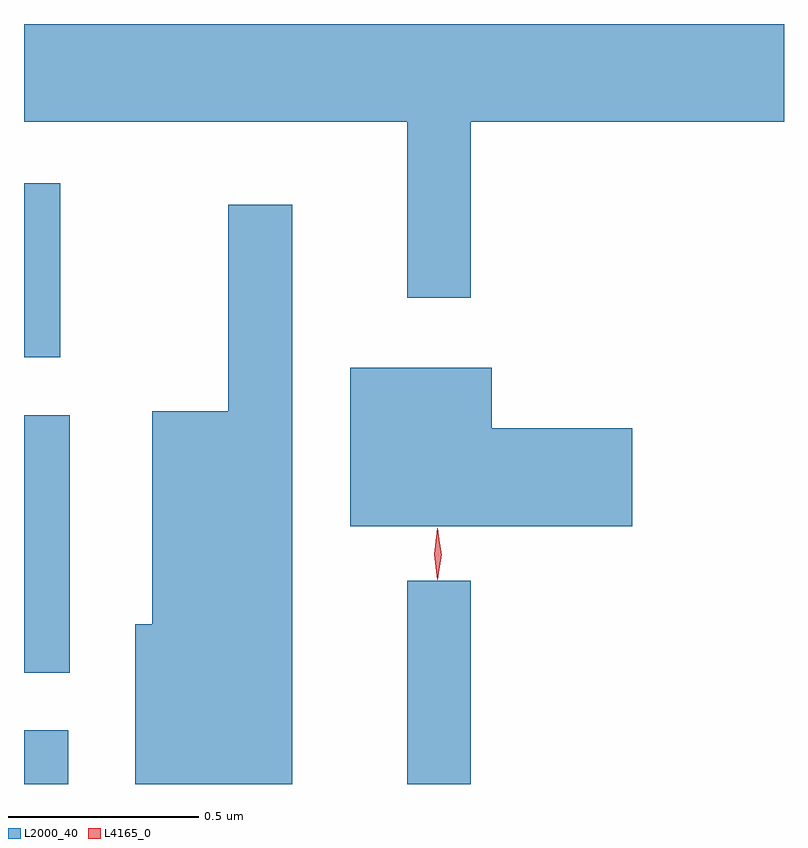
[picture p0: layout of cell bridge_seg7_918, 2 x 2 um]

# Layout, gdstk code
import gdstk
lib = gdstk.Library(unit=1e-6, precision=1e-09)
def R(c, l, rs):  # rectangles x0, y0, x1, y1
    for r in rs: c.add(gdstk.rectangle(r[:2], r[2:], *l))
def P(c, l, *ps):  # polygons
    for p in ps: c.add(gdstk.Polygon(p, *l))
L2000_40 = (2000, 40)
L4165_0 = (4165, 0)

bridge_seg7_918 = lib.new_cell('bridge_seg7_918')
R(bridge_seg7_918, L2000_40, [(257.183,1688.153,257.299,1688.294), (258.191,1688.153,258.359,1688.688), (257.183,1688.446,257.304,1689.124), (257.183,1689.276,257.279,1689.734)])
P(bridge_seg7_918, L2000_40, [(258.359,1689.896),(259.183,1689.896),(259.183,1690.153),(257.183,1690.153),(257.183,1689.896),(258.191,1689.896),(258.191,1689.433),(258.359,1689.433)],
  [(257.889,1689.678),(257.721,1689.678),(257.721,1689.134),(257.521,1689.134),(257.521,1688.574),(257.476,1688.574),(257.476,1688.153),(257.889,1688.153)],
  [(258.784,1689.089),(258.414,1689.089),(258.414,1689.249),(258.041,1689.249),(258.041,1688.831),(258.784,1688.831)])
P(bridge_seg7_918, L4165_0, [(258.272,1688.693),(258.271,1688.694),(258.262,1688.756),(258.271,1688.819),(258.271,1688.82),(258.272,1688.819),(258.282,1688.756),(258.272,1688.694)],
  [(258.271,1688.69),(258.262,1688.758),(258.271,1688.826),(258.271,1688.826),(258.272,1688.826),(258.281,1688.758),(258.272,1688.69),(258.272,1688.69)])

lib.write_gds('bridge_seg7_918.gds')
